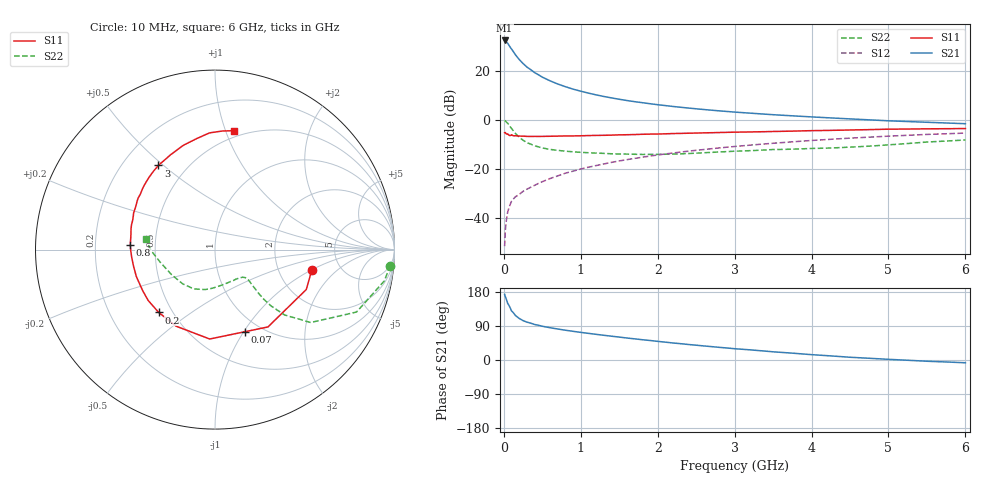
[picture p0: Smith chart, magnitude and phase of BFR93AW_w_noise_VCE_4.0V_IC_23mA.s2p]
! Infineon Technologies  Discrete & RF Semiconductors
! BFR93AW
! VCE =  4.0 V,  IC =  23 mA
! Common Emitter S-Parameters:  Jan 2017
# GHz  S  MA  R  50
!  f  S11  S21  S12  S22
! GHz  MAG  ANG  MAG  ANG  MAG  ANG  MAG  ANG
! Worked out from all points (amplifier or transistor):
!   77 points, 10 MHz to 6 GHz, reference 50 ohm
!   highest |S21| = 32.6 dB at 10 MHz (marker M1)
!   |S21| within 3 dB of that: start of sweep to 88.06 MHz
!   unconditionally stable (mu >= 1): 624.5 MHz to 2.06 GHz
!   at 130 MHz: K = 0.48, MSG = 30.0 dB, |S12| = -32.1 dB
!   at 2.2 GHz: K = 0.99, MSG = 9.5 dB, |S12| = -13.5 dB
!   at 6 GHz: K = 0.88, MSG = 1.9 dB, |S12| = -5.3 dB
!   lowest NFmin = 1.60 dB at 450 MHz
!   S11 on the Smith chart (normalised r, x): 10 MHz: 3.09, -1.01; 70 MHz: 0.84, -1.01; 200 MHz: 0.42, -0.38; 800 MHz: 0.36, +0.03; 3 GHz: 0.35, +0.48; 6 GHz: 0.44, +1.07
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0.01  0.5512 -11.9  42.9 173.1  0.0026 89.0  0.981 -5.2
0.02  0.5552 -23.6  42.49 166.9  0.0057 83.4  0.9591 -10.5
0.05  0.5223 -55.6  37.6 149.5  0.013 69.1  0.8618 -23.8
0.07  0.4867 -70.2  33.54 142.8  0.0164 64.2  0.7804 -28.4
0.1  0.499 -93.4  28.6 129.5  0.0217 59.8  0.6705 -37.3
0.14  0.476 -112.2  23.15 120.4  0.0257 58.0  0.5591 -41.8
0.15  0.4786 -117.0  21.9 117.5  0.0267 57.6  0.5319 -43.2
0.2  0.4701 -131.9  17.44 109.7  0.03 58.4  0.4445 -45.1
0.25  0.4679 -142.7  14.43 103.9  0.0346 58.1  0.3863 -45.5
0.3  0.4634 -150.2  12.22 99.9  0.0383 60.4  0.3452 -45.1
0.4  0.4633 -161.1  9.396 93.7  0.046 62.5  0.2968 -43.9
0.5  0.4632 -168.7  7.595 89.1  0.0546 65.1  0.2685 -42.9
0.6  0.4659 -174.4  6.387 85.2  0.0633 66.5  0.2507 -42.3
0.8  0.4726 176.7  4.839 78.6  0.0815 68.4  0.2304 -42.7
1.1  0.4816 166.3  3.57 70.3  0.1082 68.8  0.2141 -46.5
1.5  0.4978 155.5  2.671 60.5  0.1454 67.6  0.2012 -55.5
2.1  0.5231 141.4  1.983 47.1  0.202 63.7  0.1993 -75.1
3  0.5652 123.9  1.459 29.8  0.2874 55.9  0.2302 -104.7
3.1  0.5678 122.1  1.423 28.3  0.2967 54.8  0.2328 -107.6
4.1  0.6102 105.4  1.14 12.8  0.3905 44.7  0.2638 -136.8
5.1  0.6525 91.4  0.953 0.8  0.4759 33.6  0.3183 -169.0
6  0.6708 80.9  0.843 -7.3  0.5416 23.3  0.3911 171.6
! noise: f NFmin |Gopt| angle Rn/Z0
0.45  1.6  0.15  166  0.15
0.9  1.88  0.24  177  0.16
1.9  2.89  0.48  -138  0.24
2.4  3.53  0.55  -126  0.48
